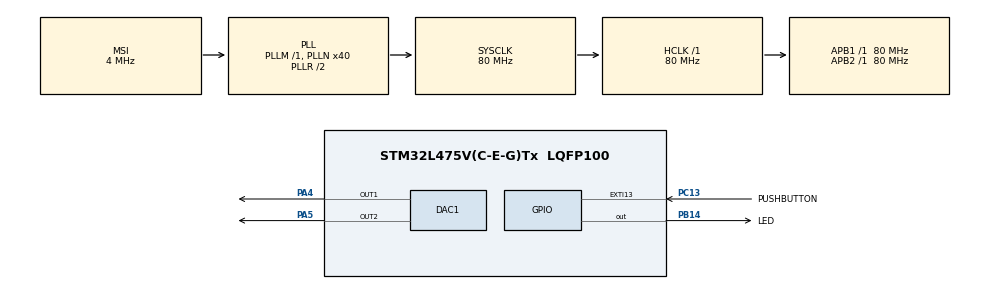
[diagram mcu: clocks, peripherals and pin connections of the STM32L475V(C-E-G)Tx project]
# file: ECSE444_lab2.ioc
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DAC1.DAC_Channel-DAC_OUT2=DAC_CHANNEL_2
Mcu.Family=STM32L4
Mcu.Name=STM32L475V(C-E-G)Tx
Mcu.Package=LQFP100
NVIC.PriorityGroup=NVIC_PRIORITYGROUP_4
PA13\ (JTMS-SWDIO).Signal=SYS_JTMS-SWDIO
PA4.Signal=COMP_DAC11_group
PA5.Signal=COMP_DAC12_group
PB14.GPIO_Label=LED
PB14.Signal=GPIO_Output
PB3\ (JTDO-TRACESWO).Signal=SYS_JTDO-SWO
PC13.GPIO_Label=PUSHBUTTON
PC13.Signal=GPXTI13
ProjectManager.HeapSize=0x200
ProjectManager.StackSize=0x400
ProjectManager.TargetToolchain=STM32CubeIDE
RCC.ADCFreq_Value=48000000
RCC.AHBFreq_Value=80000000
RCC.APB1Freq_Value=80000000
RCC.APB1TimFreq_Value=80000000
RCC.APB2Freq_Value=80000000
RCC.APB2TimFreq_Value=80000000
RCC.CortexFreq_Value=80000000
RCC.HCLKFreq_Value=80000000
RCC.HSE_VALUE=8000000
RCC.HSI_VALUE=16000000
RCC.MSI_VALUE=4000000
RCC.PLLN=40
RCC.PLLSAI1N=24
RCC.SYSCLKFreq_VALUE=80000000
RCC.SYSCLKSource=RCC_SYSCLKSOURCE_PLLCLK
RCC.USBFreq_Value=48000000
RCC.VCOOutputFreq_Value=160000000
SH.COMP_DAC11_group.0=DAC1_OUT1,DAC_OUT1
SH.COMP_DAC12_group.0=DAC1_OUT2,DAC_OUT2
board=B-L475E-IOT01A1

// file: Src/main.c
/* USER CODE BEGIN Header */
/**
  ******************************************************************************
  * @file           : main.c
  * @brief          : Main program body
  ******************************************************************************
  * @attention
  *
  * <h2><center>&copy; Copyright (c) 2020 STMicroelectronics.
  * All rights reserved.</center></h2>
  *
  * This software component is licensed by ST under BSD 3-Clause license,
  * the "License"; You may not use this file except in compliance with the
  * License. You may obtain a copy of the License at:
  *                        opensource.org/licenses/BSD-3-Clause
  *
  ******************************************************************************
  */
/* USER CODE END Header */
#include "main.h"

/* USER CODE BEGIN Includes */
#define ARM_MATH_CM4
#include "arm_math.h"

#include <math.h>
/* USER CODE END Includes */

DAC_HandleTypeDef hdac1;

void SystemClock_Config(void);
static void MX_GPIO_Init(void);
static void MX_DAC1_Init(void);

/* USER CODE BEGIN 0 */
// for tracing SWV data trace timeline graph
uint32_t sawtoothA;
uint32_t sineA;
uint32_t triangleA;

uint32_t triangle[16];
uint32_t sawtooth[16];
uint32_t sine[16];

void checkLED()
{
	GPIO_PinState buttonState = HAL_GPIO_ReadPin(PUSHBUTTON_GPIO_Port, PUSHBUTTON_Pin);
    if (buttonState == GPIO_PIN_RESET)
      HAL_GPIO_WritePin(LED_GPIO_Port, LED_Pin, GPIO_PIN_SET);
    else
	  HAL_GPIO_WritePin(LED_GPIO_Port, LED_Pin, GPIO_PIN_RESET);
}

void initSignals() {
  for (uint32_t j = 0; j < 16; j++) {
	  sawtooth[j] = j * 256;
	  if (j < 8)
		triangle[j] = j * 512;
	  else if (j == 8)
		 triangle[j] = 4095;
	  else
		triangle[j] = 4096 + (16/2 - j) * 512;

	  float r = 3.14 * j / 8.0;
	  sine[j] = (uint32_t) roundf(2047.0 * (1.0 + arm_sin_f32(r)));
  }
}

/* USER CODE END 0 */

int main(void)
{

  /* MCU Configuration--------------------------------------------------------*/

  /* Reset of all peripherals, Initializes the Flash interface and the Systick. */
  HAL_Init();

  /* Configure the system clock */
  SystemClock_Config();

  /* Initialize all configured peripherals */
  MX_GPIO_Init();
  MX_DAC1_Init();
  /* USER CODE BEGIN 2 */

  HAL_DAC_Start(&hdac1, DAC_CHANNEL_1);
  HAL_DAC_Start(&hdac1, DAC_CHANNEL_2);
  initSignals();

//  // used for indexing into the waves
  uint32_t t = 0;

  /* USER CODE END 2 */

  /* Infinite loop */
  while (1)
  {

    /* USER CODE BEGIN 3 */
	// set the DAC values, then update index
	sineA = sine[t];
	triangleA = triangle[t];
	sawtoothA = sawtooth[t];

	HAL_DAC_SetValue(&hdac1, DAC_CHANNEL_2, DAC_ALIGN_12B_R, triangleA);
//	HAL_DAC_SetValue(&hdac1, DAC_CHANNEL_1, DAC_ALIGN_12B_R, sineA);
	HAL_DAC_SetValue(&hdac1, DAC_CHANNEL_1, DAC_ALIGN_12B_R, sawtoothA);

	t = (t + 1) % 16;

	checkLED();
	HAL_Delay(0.5);
  }
  /* USER CODE END 3 */
}

void SystemClock_Config(void)
{
  RCC_OscInitTypeDef RCC_OscInitStruct = {0};
  RCC_ClkInitTypeDef RCC_ClkInitStruct = {0};

  /** Initializes the RCC Oscillators according to the specified parameters
  * in the RCC_OscInitTypeDef structure.
  */
  RCC_OscInitStruct.OscillatorType = RCC_OSCILLATORTYPE_MSI;
  RCC_OscInitStruct.MSIState = RCC_MSI_ON;
  RCC_OscInitStruct.MSICalibrationValue = 0;
  RCC_OscInitStruct.MSIClockRange = RCC_MSIRANGE_6;
  RCC_OscInitStruct.PLL.PLLState = RCC_PLL_ON;
  RCC_OscInitStruct.PLL.PLLSource = RCC_PLLSOURCE_MSI;
  RCC_OscInitStruct.PLL.PLLM = 1;
  RCC_OscInitStruct.PLL.PLLN = 40;
  RCC_OscInitStruct.PLL.PLLP = RCC_PLLP_DIV7;
  RCC_OscInitStruct.PLL.PLLQ = RCC_PLLQ_DIV2;
  RCC_OscInitStruct.PLL.PLLR = RCC_PLLR_DIV2;
  if (HAL_RCC_OscConfig(&RCC_OscInitStruct) != HAL_OK)
  {
    Error_Handler();
  }
  /** Initializes the CPU, AHB and APB buses clocks
  */
  RCC_ClkInitStruct.ClockType = RCC_CLOCKTYPE_HCLK|RCC_CLOCKTYPE_SYSCLK
                              |RCC_CLOCKTYPE_PCLK1|RCC_CLOCKTYPE_PCLK2;
  RCC_ClkInitStruct.SYSCLKSource = RCC_SYSCLKSOURCE_PLLCLK;
  RCC_ClkInitStruct.AHBCLKDivider = RCC_SYSCLK_DIV1;
  RCC_ClkInitStruct.APB1CLKDivider = RCC_HCLK_DIV1;
  RCC_ClkInitStruct.APB2CLKDivider = RCC_HCLK_DIV1;

  if (HAL_RCC_ClockConfig(&RCC_ClkInitStruct, FLASH_LATENCY_4) != HAL_OK)
  {
    Error_Handler();
  }
  /** Configure the main internal regulator output voltage
  */
  if (HAL_PWREx_ControlVoltageScaling(PWR_REGULATOR_VOLTAGE_SCALE1) != HAL_OK)
  {
    Error_Handler();
  }
}

static void MX_DAC1_Init(void)
{

  DAC_ChannelConfTypeDef sConfig = {0};

  /** DAC Initialization
  */
  hdac1.Instance = DAC1;
  if (HAL_DAC_Init(&hdac1) != HAL_OK)
  {
    Error_Handler();
  }
  /** DAC channel OUT1 config
  */
  sConfig.DAC_SampleAndHold = DAC_SAMPLEANDHOLD_DISABLE;
  sConfig.DAC_Trigger = DAC_TRIGGER_NONE;
  sConfig.DAC_OutputBuffer = DAC_OUTPUTBUFFER_ENABLE;
  sConfig.DAC_ConnectOnChipPeripheral = DAC_CHIPCONNECT_DISABLE;
  sConfig.DAC_UserTrimming = DAC_TRIMMING_FACTORY;
  if (HAL_DAC_ConfigChannel(&hdac1, &sConfig, DAC_CHANNEL_1) != HAL_OK)
  {
    Error_Handler();
  }
  /** DAC channel OUT2 config
  */
  sConfig.DAC_ConnectOnChipPeripheral = DAC_CHIPCONNECT_DISABLE;
  if (HAL_DAC_ConfigChannel(&hdac1, &sConfig, DAC_CHANNEL_2) != HAL_OK)
  {
    Error_Handler();
  }

}

static void MX_GPIO_Init(void)
{
  GPIO_InitTypeDef GPIO_InitStruct = {0};

  /* GPIO Ports Clock Enable */
  __HAL_RCC_GPIOC_CLK_ENABLE();
  __HAL_RCC_GPIOA_CLK_ENABLE();
  __HAL_RCC_GPIOB_CLK_ENABLE();

  /*Configure GPIO pin Output Level */
  HAL_GPIO_WritePin(LED_GPIO_Port, LED_Pin, GPIO_PIN_RESET);

  /*Configure GPIO pin : BUTTON_Pin */
  GPIO_InitStruct.Pin = PUSHBUTTON_Pin;
  GPIO_InitStruct.Mode = GPIO_MODE_IT_RISING;
  GPIO_InitStruct.Pull = GPIO_NOPULL;
  HAL_GPIO_Init(PUSHBUTTON_GPIO_Port, &GPIO_InitStruct);

  /*Configure GPIO pin : LED_Pin */
  GPIO_InitStruct.Pin = LED_Pin;
  GPIO_InitStruct.Mode = GPIO_MODE_OUTPUT_PP;
  GPIO_InitStruct.Pull = GPIO_NOPULL;
  GPIO_InitStruct.Speed = GPIO_SPEED_FREQ_LOW;
  HAL_GPIO_Init(LED_GPIO_Port, &GPIO_InitStruct);

}

void Error_Handler(void)
{
}

/************************ (C) COPYRIGHT STMicroelectronics *****END OF FILE****/
